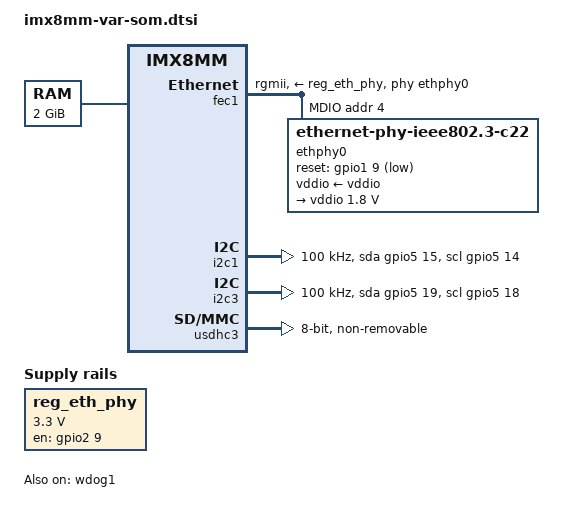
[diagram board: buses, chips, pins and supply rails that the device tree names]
// SPDX-License-Identifier: GPL-2.0+
/*
 * Copyright 2018 NXP
 * Copyright 2018-2023 Variscite Ltd.
 */

/dts-v1/;

#include <dt-bindings/usb/pd.h>
#include "imx8mm.dtsi"

/ {
	memory@40000000 {
		device_type = "memory";
		reg = <0x0 0x40000000 0 0x80000000>;
	};

	reg_eth_phy: regulator-eth-phy {
		compatible = "regulator-fixed";
		pinctrl-names = "default";
		pinctrl-0 = <&pinctrl_reg_fec1>;
		regulator-name = "eth_phy_pwr";
		regulator-min-microvolt = <3300000>;
		regulator-max-microvolt = <3300000>;
		gpio = <&gpio2 9 GPIO_ACTIVE_HIGH>;
		enable-active-high;
	};
};

&ddrc {
	operating-points-v2 = <&ddrc_opp_table>;

	ddrc_opp_table: opp-table {
		compatible = "operating-points-v2";

		opp-266M {
			opp-hz = /bits/ 64 <266500000>;
		};

		opp-600M {
			opp-hz = /bits/ 64 <600000000>;
		};
	};
};

&fec1 {
	pinctrl-names = "default";
	pinctrl-0 = <&pinctrl_fec1>;
	phy-mode = "rgmii";
	phy-handle = <&ethphy0>;
	phy-supply = <&reg_eth_phy>;
	fsl,magic-packet;
	status = "okay";

	mdio {
		#address-cells = <1>;
		#size-cells = <0>;

		ethphy0: ethernet-phy@4 {
			compatible = "ethernet-phy-ieee802.3-c22";
			reg = <4>;
			vddio-supply = <&vddio>;
			reset-gpios = <&gpio1 9 GPIO_ACTIVE_LOW>;
			reset-assert-us = <10000>;
			reset-deassert-us = <20000>;

			vddio: vddio-regulator {
					regulator-min-microvolt = <1800000>;
					regulator-max-microvolt = <1800000>;
			};
		};
	};
};

&iomuxc {
	pinctrl-names = "default";

	pinctrl_reg_fec1: regulator_fec1 {
		fsl,pins = <
			MX8MM_IOMUXC_SD1_DATA7_GPIO2_IO9		0x41
		>;
	};

	pinctrl_fec1: fec1grp {
		fsl,pins = <
			MX8MM_IOMUXC_ENET_MDC_ENET1_MDC			0x3
			MX8MM_IOMUXC_ENET_MDIO_ENET1_MDIO		0x3
			MX8MM_IOMUXC_ENET_TD3_ENET1_RGMII_TD3		0x1f
			MX8MM_IOMUXC_ENET_TD2_ENET1_RGMII_TD2		0x1f
			MX8MM_IOMUXC_ENET_TD1_ENET1_RGMII_TD1		0x1f
			MX8MM_IOMUXC_ENET_TD0_ENET1_RGMII_TD0		0x1f
			MX8MM_IOMUXC_ENET_RD3_ENET1_RGMII_RD3		0x91
			MX8MM_IOMUXC_ENET_RD2_ENET1_RGMII_RD2		0x91
			MX8MM_IOMUXC_ENET_RD1_ENET1_RGMII_RD1		0x91
			MX8MM_IOMUXC_ENET_RD0_ENET1_RGMII_RD0		0x91
			MX8MM_IOMUXC_ENET_TXC_ENET1_RGMII_TXC		0x1f
			MX8MM_IOMUXC_ENET_RXC_ENET1_RGMII_RXC		0x91
			MX8MM_IOMUXC_ENET_RX_CTL_ENET1_RGMII_RX_CTL	0x91
			MX8MM_IOMUXC_ENET_TX_CTL_ENET1_RGMII_TX_CTL	0x1f
			MX8MM_IOMUXC_GPIO1_IO09_GPIO1_IO9		0x19
		>;
	};

	pinctrl_i2c1: i2c1grp {
		fsl,pins = <
			MX8MM_IOMUXC_I2C1_SCL_I2C1_SCL			0x400001c3
			MX8MM_IOMUXC_I2C1_SDA_I2C1_SDA			0x400001c3
		>;
	};

	pinctrl_i2c3: i2c3grp {
		fsl,pins = <
			MX8MM_IOMUXC_I2C3_SCL_I2C3_SCL			0x400001c3
			MX8MM_IOMUXC_I2C3_SDA_I2C3_SDA			0x400001c3
		>;
	};

	pinctrl_i2c1_gpio: i2c1grp-gpio {
		fsl,pins = <
			MX8MM_IOMUXC_I2C1_SCL_GPIO5_IO14		0x1c3
			MX8MM_IOMUXC_I2C1_SDA_GPIO5_IO15		0x1c3
		>;
	};

	pinctrl_i2c3_gpio: i2c3grp-gpio {
		fsl,pins = <
			MX8MM_IOMUXC_I2C3_SCL_GPIO5_IO18		0x1c3
			MX8MM_IOMUXC_I2C3_SDA_GPIO5_IO19		0x1c3
		>;
	};

	pinctrl_usdhc3: usdhc3grp {
		fsl,pins = <
			MX8MM_IOMUXC_NAND_WE_B_USDHC3_CLK		0x190
			MX8MM_IOMUXC_NAND_WP_B_USDHC3_CMD		0x1d0
			MX8MM_IOMUXC_NAND_DATA04_USDHC3_DATA0		0x1d0
			MX8MM_IOMUXC_NAND_DATA05_USDHC3_DATA1		0x1d0
			MX8MM_IOMUXC_NAND_DATA06_USDHC3_DATA2		0x1d0
			MX8MM_IOMUXC_NAND_DATA07_USDHC3_DATA3		0x1d0
			MX8MM_IOMUXC_NAND_RE_B_USDHC3_DATA4		0x1d0
			MX8MM_IOMUXC_NAND_CE2_B_USDHC3_DATA5		0x1d0
			MX8MM_IOMUXC_NAND_CE3_B_USDHC3_DATA6		0x1d0
			MX8MM_IOMUXC_NAND_CLE_USDHC3_DATA7		0x1d0
			MX8MM_IOMUXC_NAND_CE1_B_USDHC3_STROBE		0x190
		>;
	};

	pinctrl_usdhc3_100mhz: usdhc3grp100mhz {
		fsl,pins = <
			MX8MM_IOMUXC_NAND_WE_B_USDHC3_CLK		0x194
			MX8MM_IOMUXC_NAND_WP_B_USDHC3_CMD		0x1d4
			MX8MM_IOMUXC_NAND_DATA04_USDHC3_DATA0		0x1d4
			MX8MM_IOMUXC_NAND_DATA05_USDHC3_DATA1		0x1d4
			MX8MM_IOMUXC_NAND_DATA06_USDHC3_DATA2		0x1d4
			MX8MM_IOMUXC_NAND_DATA07_USDHC3_DATA3		0x1d4
			MX8MM_IOMUXC_NAND_RE_B_USDHC3_DATA4		0x1d4
			MX8MM_IOMUXC_NAND_CE2_B_USDHC3_DATA5		0x1d4
			MX8MM_IOMUXC_NAND_CE3_B_USDHC3_DATA6		0x1d4
			MX8MM_IOMUXC_NAND_CLE_USDHC3_DATA7		0x1d4
			MX8MM_IOMUXC_NAND_CE1_B_USDHC3_STROBE		0x194
		>;
	};

	pinctrl_usdhc3_200mhz: usdhc3grp200mhz {
		fsl,pins = <
			MX8MM_IOMUXC_NAND_WE_B_USDHC3_CLK		0x196
			MX8MM_IOMUXC_NAND_WP_B_USDHC3_CMD		0x1d6
			MX8MM_IOMUXC_NAND_DATA04_USDHC3_DATA0		0x1d6
			MX8MM_IOMUXC_NAND_DATA05_USDHC3_DATA1		0x1d6
			MX8MM_IOMUXC_NAND_DATA06_USDHC3_DATA2		0x1d6
			MX8MM_IOMUXC_NAND_DATA07_USDHC3_DATA3		0x1d6
			MX8MM_IOMUXC_NAND_RE_B_USDHC3_DATA4		0x1d6
			MX8MM_IOMUXC_NAND_CE2_B_USDHC3_DATA5		0x1d6
			MX8MM_IOMUXC_NAND_CE3_B_USDHC3_DATA6		0x1d6
			MX8MM_IOMUXC_NAND_CLE_USDHC3_DATA7		0x1d6
			MX8MM_IOMUXC_NAND_CE1_B_USDHC3_STROBE		0x196
		>;
	};

	pinctrl_wdog: wdoggrp {
		fsl,pins = <
			MX8MM_IOMUXC_GPIO1_IO02_WDOG1_WDOG_B		0x166
		>;
	};
};

&i2c1 {
	clock-frequency = <100000>;
	pinctrl-names = "default", "gpio";
	pinctrl-0 = <&pinctrl_i2c1>;
	pinctrl-1 = <&pinctrl_i2c1_gpio>;
	scl-gpios = <&gpio5 14 GPIO_ACTIVE_HIGH>;
	sda-gpios = <&gpio5 15 GPIO_ACTIVE_HIGH>;
	status = "okay";
};

&i2c3 {
	clock-frequency = <100000>;
	pinctrl-names = "default", "gpio";
	pinctrl-0 = <&pinctrl_i2c3>;
	pinctrl-1 = <&pinctrl_i2c3_gpio>;
	scl-gpios = <&gpio5 18 GPIO_ACTIVE_HIGH>;
	sda-gpios = <&gpio5 19 GPIO_ACTIVE_HIGH>;
	status = "okay";
};

/* EMMC */
&usdhc3 {
	pinctrl-names = "default", "state_100mhz", "state_200mhz";
	pinctrl-0 = <&pinctrl_usdhc3>;
	pinctrl-1 = <&pinctrl_usdhc3_100mhz>;
	pinctrl-2 = <&pinctrl_usdhc3_200mhz>;
	bus-width = <8>;
	non-removable;
	status = "okay";
};

&wdog1 {
	pinctrl-names = "default";
	pinctrl-0 = <&pinctrl_wdog>;
	fsl,ext-reset-output;
	status = "okay";
};
